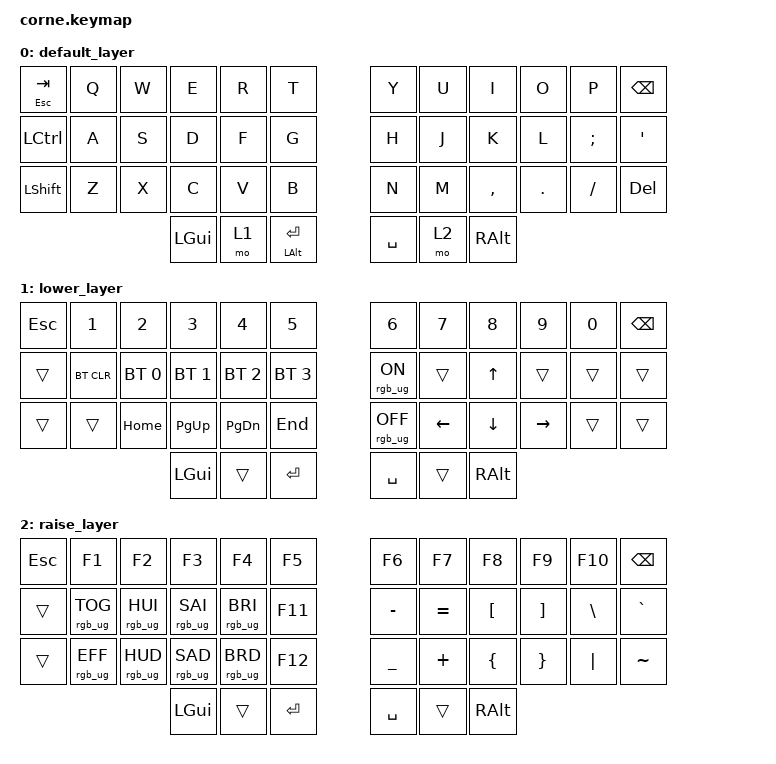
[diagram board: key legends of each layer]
/*
 * Copyright (c) 2020 The ZMK Contributors
 *
 * SPDX-License-Identifier: MIT
 */

#include <behaviors.dtsi>
#include <dt-bindings/zmk/bt.h>
#include <dt-bindings/zmk/keys.h>
#include <dt-bindings/zmk/rgb.h>

&led_strip { chain-length = <27>; };

/ {
    keymap {
        compatible = "zmk,keymap";

        default_layer {
            // -----------------------------------------------------------------------------------------
            // |  TAB |  Q  |  W  |  E  |  R  |  T  |   |  Y  |  U   |  I  |  O  |  P  | BKSP |
            // | CTRL |  A  |  S  |  D  |  F  |  G  |   |  H  |  J   |  K  |  L  |  ;  |  '   |
            // | SHFT |  Z  |  X  |  C  |  V  |  B  |   |  N  |  M   |  ,  |  .  |  /  | SHFT |
            //                    | GUI | LWR | ENT |   | SPC | RSE  | ALT |

            bindings = <
&mt ESC TAB  &kp Q  &kp W  &kp E     &kp R  &kp T               &kp Y      &kp U  &kp I      &kp O    &kp P     &kp BSPC
&kp LCTRL    &kp A  &kp S  &kp D     &kp F  &kp G               &kp H      &kp J  &kp K      &kp L    &kp SEMI  &kp SQT
&kp LSHFT    &kp Z  &kp X  &kp C     &kp V  &kp B               &kp N      &kp M  &kp COMMA  &kp DOT  &kp FSLH  &kp DEL
                           &kp LGUI  &mo 1  &mt LEFT_ALT RET    &kp SPACE  &mo 2  &kp RALT
            >;
        };

        lower_layer {
            // -----------------------------------------------------------------------------------------
            // |  TAB |  1    |  2  |  3  |  4  |  5  |   |  6  |  7  |  8  |  9  |  0  | BKSP |
            // | LCTRL| BTCLR | BT0 | BT1 | BT2 | BT3 |   | LFT | DWN |  UP | RGT |     |      |
            // | ESC  |       | HOME| PGUP| PGDN| END |   |  EP ON   |  EP OFF   |  EP TOG   |     |     |      |
            //                      | GUI |     | SPC |   | ENT |     | ALT |

            bindings = <
&kp ESC  &kp N1      &kp N2        &kp N3        &kp N4        &kp N5          &kp N6           &kp N7    &kp N8    &kp N9     &kp N0  &kp BSPC
&trans   &bt BT_CLR  &bt BT_SEL 0  &bt BT_SEL 1  &bt BT_SEL 2  &bt BT_SEL 3    &rgb_ug RGB_ON   &trans    &kp UP    &trans     &trans  &trans
&trans   &trans      &kp HOME      &kp PG_UP     &kp PG_DN     &kp END         &rgb_ug RGB_OFF  &kp LEFT  &kp DOWN  &kp RIGHT  &trans  &trans
                                   &kp LGUI      &trans        &kp ENTER       &kp SPACE        &trans    &kp RALT
            >;
        };

        raise_layer {
            // -----------------------------------------------------------------------------------------
            // |  TAB |   !   |   @   |   #   |   $   |   %   |   |  ^  |  &  |  *  |  (  |  )  | BKSP |
            // | CTRL |RGB_TOG|RGB_HUI|RGB_SAI|RGB_VAI|       |   |  -  |  =  |  [  |  ]  |  \  |  `   |
            // | SHFT |RGB_MOD|RGB_HUD|RGB_SAD|RGB_VAD|QK_BOOT|   |  _  |  +  |  {  |  }  | "|" |  ~   |
            //                            | GUI |     |  SPC  |   | ENT |     | ALT |

            bindings = <
&kp ESC  &kp F1           &kp F2           &kp F3           &kp F4           &kp F5       &kp F6     &kp F7     &kp F8    &kp F9    &kp F10   &kp BSPC
&trans   &rgb_ug RGB_TOG  &rgb_ug RGB_HUI  &rgb_ug RGB_SAI  &rgb_ug RGB_BRI  &kp F11      &kp MINUS  &kp EQUAL  &kp LBKT  &kp RBKT  &kp BSLH  &kp GRAVE
&trans   &rgb_ug RGB_EFF  &rgb_ug RGB_HUD  &rgb_ug RGB_SAD  &rgb_ug RGB_BRD  &kp F12      &kp UNDER  &kp PLUS   &kp LBRC  &kp RBRC  &kp PIPE  &kp TILDE
                                           &kp LGUI         &trans           &kp ENTER    &kp SPACE  &trans     &kp RALT
            >;
        };
    };
};
